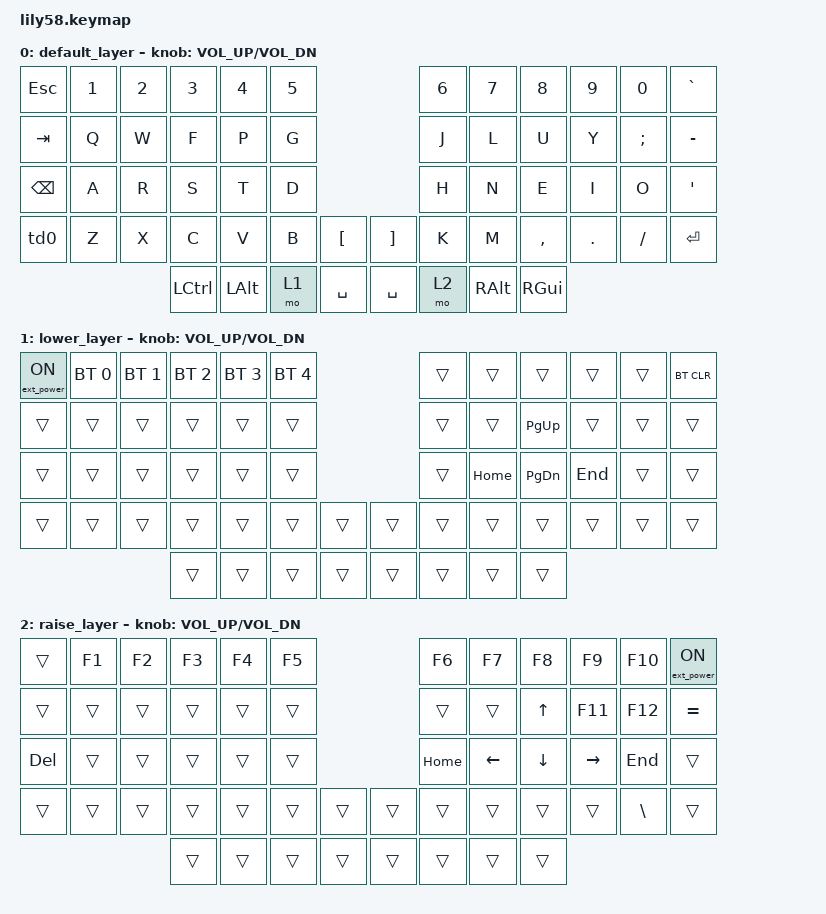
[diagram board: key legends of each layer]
/*
 * Copyright (c) 2020 The ZMK Contributors
 *
 * SPDX-License-Identifier: MIT
 */

#include <behaviors.dtsi>
#include <dt-bindings/zmk/keys.h>
#include <dt-bindings/zmk/bt.h>
#include <dt-bindings/zmk/ext_power.h>

/ {
	behaviors {
		td0: tap_dance_0 {
			compatible = "zmk,behavior-tap-dance";
				label = "TAP_DANCE_0";
				#binding-cells = <0>;
				tapping-term-ms = <200>;
				bindings = <&kp LSHFT>, <&kp CAPS>;
		};
	};

	keymap {
		compatible = "zmk,keymap";

		default_layer {
// Colemak
// ------------------------------------------------------------------------------------------------------------
// |  ESC  |  1  |  2  |  3   |  4   |  5   |                   |  6   |  7    |  8    |  9   |   0   |   `   |
// |  TAB  |  Q  |  W  |  F   |  P   |  G   |                   |  J   |  L    |  U    |  Y   |   ;   |   -   |
// |  BSPC |  A  |  R  |  S   |  T   |  D   |                   |  H   |  N    |  E    |  I   |   O   |   '   |
// |  TD0  |  Z  |  X  |  C   |  V   |  B   |   "["  |  |  "]"  |  K   |  M    |  ,    |  .   |   /   | ENTER |
//                     | LCTRL| ALT  | LOWER|  SPACE |  | SPACE | RAISE| RALT  | GUI   |
			bindings = <
&kp ESC   &kp N1 &kp N2 &kp N3    &kp N4   &kp N5                       &kp N6 &kp N7   &kp N8    &kp N9  &kp N0   &kp GRAVE
&kp TAB   &kp Q  &kp W  &kp F     &kp P    &kp G                        &kp J  &kp L    &kp U     &kp Y   &kp SEMI &kp MINUS
&kp BSPC  &kp A  &kp R  &kp S     &kp T    &kp D                        &kp H  &kp N    &kp E     &kp I   &kp O    &kp SQT
&td0      &kp Z  &kp X  &kp C     &kp V    &kp B  &kp LBKT   &kp RBKT   &kp K  &kp M    &kp COMMA &kp DOT &kp FSLH &kp RET
                        &kp LCTRL &kp LALT &mo 1  &kp SPACE  &kp SPACE  &mo 2  &kp RALT &kp RGUI
			>;

			sensor-bindings = <&inc_dec_kp C_VOL_UP C_VOL_DN>;
		};

		lower_layer {
// ------------------------------------------------------------------------------------------------------------
// | EP_ON  | BT1 | BT2 |  BT3 |  BT4 |  BT5 |                   |      |       |       |      |       | BTCLR |
// |        |     |     |      |      |      |                   |      |       | PG_UP |      |       |       |
// |        |     |     |      |      |      |                   |      | HOME  | PG_DN |  END |       |       |
// |        |     |     |      |      |      |        |  |       |      |       |       |      |       |       |
//                      |      |      |      |        |  |       |      |       |       |
			bindings = <
&ext_power EP_ON  &bt BT_SEL 0  &bt BT_SEL 1 &bt BT_SEL 2 &bt BT_SEL 3 &bt BT_SEL 4                 &trans  &trans  &trans  &trans &trans &bt BT_CLR
&trans    &trans  &trans  &trans  &trans  &trans                     &trans  &trans    &kp PG_UP  &trans   &trans  &trans
&trans    &trans  &trans  &trans  &trans  &trans                     &trans  &kp HOME  &kp PG_DN  &kp END  &trans  &trans
&trans    &trans  &trans  &trans  &trans  &trans   &trans   &trans   &trans  &trans    &trans    &trans    &trans  &trans
                          &trans  &trans  &trans   &trans   &trans   &trans  &trans    &trans
			>;

			sensor-bindings = <&inc_dec_kp C_VOL_UP C_VOL_DN>;
		};

		raise_layer {
// ------------------------------------------------------------------------------------------------------------
// |       |  F1 |  F2 |  F3  |  F4  |  F5  |                   |  F6  |   F7  |   F8  |  F9  |  F10  | EP_ON |
// |       |     |     |      |      |      |                   |      |       |   ^   |  F11 |  F12  |   =   |
// |   DEL |     |     |      |      |      |                   | HOME |   <-  |   v   |  ->  |  END  |       |
// |       |     |     |      |      |      |        |  |       |      |       |       |      |   \   |       |
//                     |      |      |      |        |  |       |      |       |       |
			bindings = <
&trans    &kp F1  &kp F2  &kp F3  &kp F4  &kp F5                     &kp F6    &kp F7    &kp F8    &kp F9    &kp F10   &ext_power EP_ON
&trans    &trans  &trans  &trans  &trans  &trans                     &trans    &trans    &kp UP    &kp F11   &kp F12   &kp EQUAL
&kp DEL   &trans  &trans  &trans  &trans  &trans                     &kp HOME  &kp LEFT  &kp DOWN  &kp RIGHT &kp END   &trans
&trans    &trans  &trans  &trans  &trans  &trans   &trans   &trans   &trans    &trans    &trans    &trans    &kp BSLH  &trans
                          &trans  &trans  &trans   &trans   &trans   &trans    &trans    &trans
			>;

			sensor-bindings = <&inc_dec_kp C_VOL_UP C_VOL_DN>;
		};
	};
};
